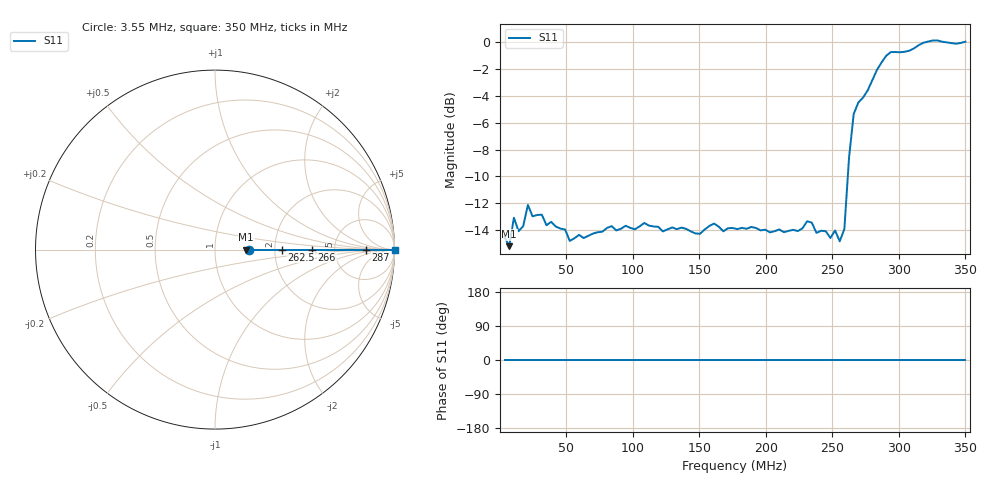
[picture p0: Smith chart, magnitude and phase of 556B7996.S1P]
!File created by NanoVNA
# Hz S RI R 50
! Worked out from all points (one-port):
!   100 points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, 3.55 MHz to 350 MHz, reference 50 ohm
!   lowest |S11| = -15.2 dB at 7.049 MHz (marker M1), VSWR 1.42, Z = 71.1 + j0 ohm
!   |S11| at or under -10 dB: start of sweep to 261.6 MHz
!   S11 on the Smith chart (normalised r, x): 3.55 MHz: 1.46, +0.00; 262.5 MHz: 2.18, +0.00; 266 MHz: 3.35, +0.00; 287 MHz: 12, +0; 350 MHz: open
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3549500  0.1879 0
7049000  0.1739 0
1.05485e7  0.222 0
1.4048e7  0.1977 0
1.75475e7  0.2065 0
2.1047e7  0.2477 0
2.45465e7  0.2246 0
4.9043e7  0.2006 0
5.25425e7  0.1819 0
9.1037e7  0.2018 0
1.365305e8  0.2039 0
1.505285e8  0.1934 0
1.61027e8  0.2111 0
1.785245e8  0.2013 0
2.205185e8  0.2001 0
2.31017e8  0.2153 0
2.485145e8  0.1866 0
2.52014e8  0.1989 0
2.555135e8  0.1813 0
2.59013e8  0.2016 0
2.625125e8  0.3712 0
2.66012e8  0.5402 0
2.765105e8  0.6611 0
2.87009e8  0.8412 0
2.94008e8  0.9192 0
3.08006e8  0.93 0
3.255035e8  1.015 0
3.5e8  1.005 0
